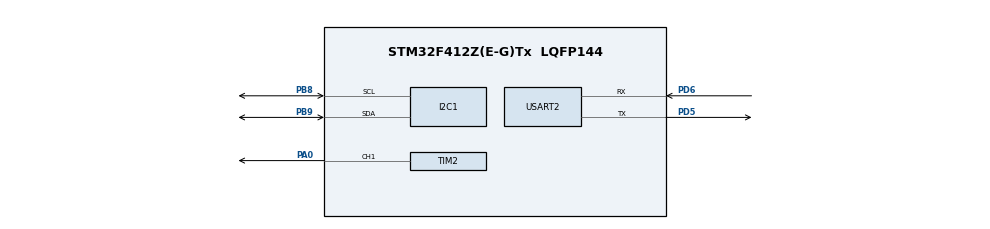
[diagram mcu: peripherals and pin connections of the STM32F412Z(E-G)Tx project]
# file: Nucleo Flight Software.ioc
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Mcu.Family=STM32F4
Mcu.Name=STM32F412Z(E-G)Tx
Mcu.Package=LQFP144
NVIC.PriorityGroup=NVIC_PRIORITYGROUP_4
NVIC.TIM3_IRQn=true\:0\:0\:false\:false\:true\:true\:true\:true
PA0.Signal=S_TIM2_CH1_ETR
PA8.Signal=S_TIM1_CH1
PB8.Mode=I2C
PB8.Signal=I2C1_SCL
PB9.Mode=I2C
PB9.Signal=I2C1_SDA
PD5.Mode=Asynchronous
PD5.Signal=USART2_TX
PD6.Mode=Asynchronous
PD6.Signal=USART2_RX
ProjectManager.HeapSize=0x200
ProjectManager.StackSize=0x400
ProjectManager.TargetToolchain=STM32CubeIDE
RCC.CortexFreq_Value=16000000
RCC.USBFreq_Value=96000000
RCC.VCOOutputFreq_Value=192000000
SH.S_TIM1_CH1.0=TIM1_CH1
SH.S_TIM2_CH1_ETR.0=TIM2_CH1,PWM Generation1 CH1
TIM2.Channel-PWM\ Generation1\ CH1=TIM_CHANNEL_1
TIM2.Period=20000-1
TIM2.Prescaler=15
TIM3.AutoReloadPreload=TIM_AUTORELOAD_PRELOAD_DISABLE
TIM3.Period=999
TIM3.Prescaler=16000-1
USART2.VirtualMode=VM_ASYNC
VP_TIM2_VS_ClockSourceINT.Mode=Internal
VP_TIM3_VS_ClockSourceINT.Mode=Internal
board=custom

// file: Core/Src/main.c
/* USER CODE BEGIN Header */
/**
  ******************************************************************************
  * @file           : main.c
  * @brief          : Main program body
  ******************************************************************************
  * @attention
  *
  * Copyright (c) 2025 STMicroelectronics.
  * All rights reserved.
  *
  * This software is licensed under terms that can be found in the LICENSE file
  * in the root directory of this software component.
  * If no LICENSE file comes with this software, it is provided AS-IS.
  *
  ******************************************************************************
  */
/* USER CODE END Header */
#include "main.h"

/* USER CODE BEGIN Includes */

#include <stdint.h>
#include <stdarg.h>
#include <stdio.h>
#include <math.h>
#include "flight_fsm.h"
#include "servos.h"
#include "gps.h"
#include "imu.h"
#include "baro.h"
#include "current.h"
#include "telemetry.h"
#include "xbee.h"
#include "commands.h"
#include "paraglider.h"

/* USER CODE END Includes */

I2C_HandleTypeDef hi2c1;

TIM_HandleTypeDef htim2;
TIM_HandleTypeDef htim3;

UART_HandleTypeDef huart2;

/* USER CODE BEGIN PV */

Telemetry_t telemetry;

uint8_t packet_ready = 0;
uint8_t command_ready = 0;
char command_buffer[RX_BFR_SIZE-1];

/* USER CODE END PV */

void SystemClock_Config(void);
static void MX_GPIO_Init(void);
static void MX_I2C1_Init(void);
static void MX_USART2_UART_Init(void);
static void MX_TIM2_Init(void);
static void MX_TIM3_Init(void);

/* USER CODE BEGIN 0 */

//Set up Interrupt handler to invoke data transmit from xbee to the board.
void USART2_IRQHandler(void) {
	HAL_UART_IRQHandler(&huart2);
}

void HAL_TIM_PeriodElapsedCallback(TIM_HandleTypeDef *htim)
{
    if (htim->Instance == TIM3)
    {
    	// 1 Hz Interrupt
        packet_ready = 1;

        // Handle Mission Time
        telemetry.mission_time_sec++;
        if (telemetry.mission_time_sec >= 60){
        	telemetry.mission_time_sec -= 60;
        	telemetry.mission_time_min += 1;
        }
        if (telemetry.mission_time_min >= 60){
        	telemetry.mission_time_min -= 60;
        	telemetry.mission_time_hr += 1;
        }
        if (telemetry.mission_time_hr >= 24){
        	telemetry.mission_time_hr -= 24;
        }
    }
}

/* USER CODE END 0 */

int main(void)
{

  /* MCU Configuration--------------------------------------------------------*/

  /* Reset of all peripherals, Initializes the Flash interface and the Systick. */
  HAL_Init();

  /* Configure the system clock */
  SystemClock_Config();

  /* Initialize all configured peripherals */
  MX_GPIO_Init();
  MX_I2C1_Init();
  MX_USART2_UART_Init();
  MX_TIM2_Init();
  MX_TIM3_Init();
  /* USER CODE BEGIN 2 */

  init_xbee(&huart2, USART2_IRQn);
  Init_Servos();
  init_baro(&hi2c1);
  init_gps(&hi2c1, &telemetry);
  init_imu(&hi2c1);
  init_current(&hi2c1);
  init_telemetry(&telemetry);

  read_baro(&hi2c1, &telemetry);
  reset_alt_dif_buf(&telemetry);

  HAL_Delay(10);

  // Start 1 Hz interrupt
  HAL_TIM_Base_Start_IT(&htim3);

  /* USER CODE END 2 */

  /* Infinite loop */
  /* USER CODE BEGIN WHILE */
  while (1)
  {
	  // Read sensors
	  read_gps(&hi2c1, &telemetry);
	  read_imu(&hi2c1, &telemetry);
	  read_current(&hi2c1, &telemetry);
	  if (telemetry.mode == 'F'){
		  read_baro(&hi2c1, &telemetry);
		  update_alt_dif_buf(&telemetry);
		  telemetry.max_altitude = fmaxf(telemetry.max_altitude, telemetry.altitude);
	  }

	  // Updated FSM
	  update_fsm(&telemetry);

	  // Perform Paraglider control alg if it's on
	  if (telemetry.paraglider_active){
		  control_paraglider(&telemetry);
	  }

	  if (command_ready == 1){
		  handle_command(command_buffer);
		  command_ready = 0;
	  }

	  // Send data at 1 Hz
	  if (packet_ready == 1 && telemetry.telemetry_status == 1){
		  send_packet(&huart2, &telemetry);
		  packet_ready = 0;
	  }

    /* USER CODE END WHILE */

    /* USER CODE BEGIN 3 */
    /* small delay so we aren't hammering I2C too hard */
	HAL_Delay(10);
  }
  /* USER CODE END 3 */
}

void SystemClock_Config(void)
{
  RCC_OscInitTypeDef RCC_OscInitStruct = {0};
  RCC_ClkInitTypeDef RCC_ClkInitStruct = {0};

  /** Configure the main internal regulator output voltage
  */
  __HAL_RCC_PWR_CLK_ENABLE();
  __HAL_PWR_VOLTAGESCALING_CONFIG(PWR_REGULATOR_VOLTAGE_SCALE1);

  /** Initializes the RCC Oscillators according to the specified parameters
  * in the RCC_OscInitTypeDef structure.
  */
  RCC_OscInitStruct.OscillatorType = RCC_OSCILLATORTYPE_HSI;
  RCC_OscInitStruct.HSIState = RCC_HSI_ON;
  RCC_OscInitStruct.HSICalibrationValue = RCC_HSICALIBRATION_DEFAULT;
  RCC_OscInitStruct.PLL.PLLState = RCC_PLL_NONE;
  if (HAL_RCC_OscConfig(&RCC_OscInitStruct) != HAL_OK)
  {
    Error_Handler();
  }

  /** Initializes the CPU, AHB and APB buses clocks
  */
  RCC_ClkInitStruct.ClockType = RCC_CLOCKTYPE_HCLK|RCC_CLOCKTYPE_SYSCLK
                              |RCC_CLOCKTYPE_PCLK1|RCC_CLOCKTYPE_PCLK2;
  RCC_ClkInitStruct.SYSCLKSource = RCC_SYSCLKSOURCE_HSI;
  RCC_ClkInitStruct.AHBCLKDivider = RCC_SYSCLK_DIV1;
  RCC_ClkInitStruct.APB1CLKDivider = RCC_HCLK_DIV1;
  RCC_ClkInitStruct.APB2CLKDivider = RCC_HCLK_DIV1;

  if (HAL_RCC_ClockConfig(&RCC_ClkInitStruct, FLASH_LATENCY_0) != HAL_OK)
  {
    Error_Handler();
  }
}

static void MX_I2C1_Init(void)
{

  hi2c1.Instance = I2C1;
  hi2c1.Init.ClockSpeed = 100000;
  hi2c1.Init.DutyCycle = I2C_DUTYCYCLE_2;
  hi2c1.Init.OwnAddress1 = 0;
  hi2c1.Init.AddressingMode = I2C_ADDRESSINGMODE_7BIT;
  hi2c1.Init.DualAddressMode = I2C_DUALADDRESS_DISABLE;
  hi2c1.Init.OwnAddress2 = 0;
  hi2c1.Init.GeneralCallMode = I2C_GENERALCALL_DISABLE;
  hi2c1.Init.NoStretchMode = I2C_NOSTRETCH_DISABLE;
  if (HAL_I2C_Init(&hi2c1) != HAL_OK)
  {
    Error_Handler();
  }

}

static void MX_TIM2_Init(void)
{

  TIM_ClockConfigTypeDef sClockSourceConfig = {0};
  TIM_MasterConfigTypeDef sMasterConfig = {0};
  TIM_OC_InitTypeDef sConfigOC = {0};

  htim2.Instance = TIM2;
  htim2.Init.Prescaler = 15;
  htim2.Init.CounterMode = TIM_COUNTERMODE_UP;
  htim2.Init.Period = 20000-1;
  htim2.Init.ClockDivision = TIM_CLOCKDIVISION_DIV1;
  htim2.Init.AutoReloadPreload = TIM_AUTORELOAD_PRELOAD_DISABLE;
  if (HAL_TIM_Base_Init(&htim2) != HAL_OK)
  {
    Error_Handler();
  }
  sClockSourceConfig.ClockSource = TIM_CLOCKSOURCE_INTERNAL;
  if (HAL_TIM_ConfigClockSource(&htim2, &sClockSourceConfig) != HAL_OK)
  {
    Error_Handler();
  }
  if (HAL_TIM_PWM_Init(&htim2) != HAL_OK)
  {
    Error_Handler();
  }
  sMasterConfig.MasterOutputTrigger = TIM_TRGO_RESET;
  sMasterConfig.MasterSlaveMode = TIM_MASTERSLAVEMODE_DISABLE;
  if (HAL_TIMEx_MasterConfigSynchronization(&htim2, &sMasterConfig) != HAL_OK)
  {
    Error_Handler();
  }
  sConfigOC.OCMode = TIM_OCMODE_PWM1;
  sConfigOC.Pulse = 0;
  sConfigOC.OCPolarity = TIM_OCPOLARITY_HIGH;
  sConfigOC.OCFastMode = TIM_OCFAST_DISABLE;
  if (HAL_TIM_PWM_ConfigChannel(&htim2, &sConfigOC, TIM_CHANNEL_1) != HAL_OK)
  {
    Error_Handler();
  }
  HAL_TIM_MspPostInit(&htim2);

}

static void MX_TIM3_Init(void)
{

  TIM_ClockConfigTypeDef sClockSourceConfig = {0};
  TIM_MasterConfigTypeDef sMasterConfig = {0};

  htim3.Instance = TIM3;
  htim3.Init.Prescaler = 16000-1;
  htim3.Init.CounterMode = TIM_COUNTERMODE_UP;
  htim3.Init.Period = 999;
  htim3.Init.ClockDivision = TIM_CLOCKDIVISION_DIV1;
  htim3.Init.AutoReloadPreload = TIM_AUTORELOAD_PRELOAD_DISABLE;
  if (HAL_TIM_Base_Init(&htim3) != HAL_OK)
  {
    Error_Handler();
  }
  sClockSourceConfig.ClockSource = TIM_CLOCKSOURCE_INTERNAL;
  if (HAL_TIM_ConfigClockSource(&htim3, &sClockSourceConfig) != HAL_OK)
  {
    Error_Handler();
  }
  sMasterConfig.MasterOutputTrigger = TIM_TRGO_RESET;
  sMasterConfig.MasterSlaveMode = TIM_MASTERSLAVEMODE_DISABLE;
  if (HAL_TIMEx_MasterConfigSynchronization(&htim3, &sMasterConfig) != HAL_OK)
  {
    Error_Handler();
  }

}

static void MX_USART2_UART_Init(void)
{

  huart2.Instance = USART2;
  huart2.Init.BaudRate = 115200;
  huart2.Init.WordLength = UART_WORDLENGTH_8B;
  huart2.Init.StopBits = UART_STOPBITS_1;
  huart2.Init.Parity = UART_PARITY_NONE;
  huart2.Init.Mode = UART_MODE_TX_RX;
  huart2.Init.HwFlowCtl = UART_HWCONTROL_NONE;
  huart2.Init.OverSampling = UART_OVERSAMPLING_16;
  if (HAL_UART_Init(&huart2) != HAL_OK)
  {
    Error_Handler();
  }

}

static void MX_GPIO_Init(void)
{
  GPIO_InitTypeDef GPIO_InitStruct = {0};

  /* GPIO Ports Clock Enable */
  __HAL_RCC_GPIOA_CLK_ENABLE();
  __HAL_RCC_GPIOD_CLK_ENABLE();
  __HAL_RCC_GPIOB_CLK_ENABLE();

  /*Configure GPIO pin : PA8 */
  GPIO_InitStruct.Pin = GPIO_PIN_8;
  GPIO_InitStruct.Mode = GPIO_MODE_AF_PP;
  GPIO_InitStruct.Pull = GPIO_NOPULL;
  GPIO_InitStruct.Speed = GPIO_SPEED_FREQ_LOW;
  GPIO_InitStruct.Alternate = GPIO_AF1_TIM1;
  HAL_GPIO_Init(GPIOA, &GPIO_InitStruct);

}

void Error_Handler(void)
{
  __disable_irq();
  while (1)
  {
  }
}
